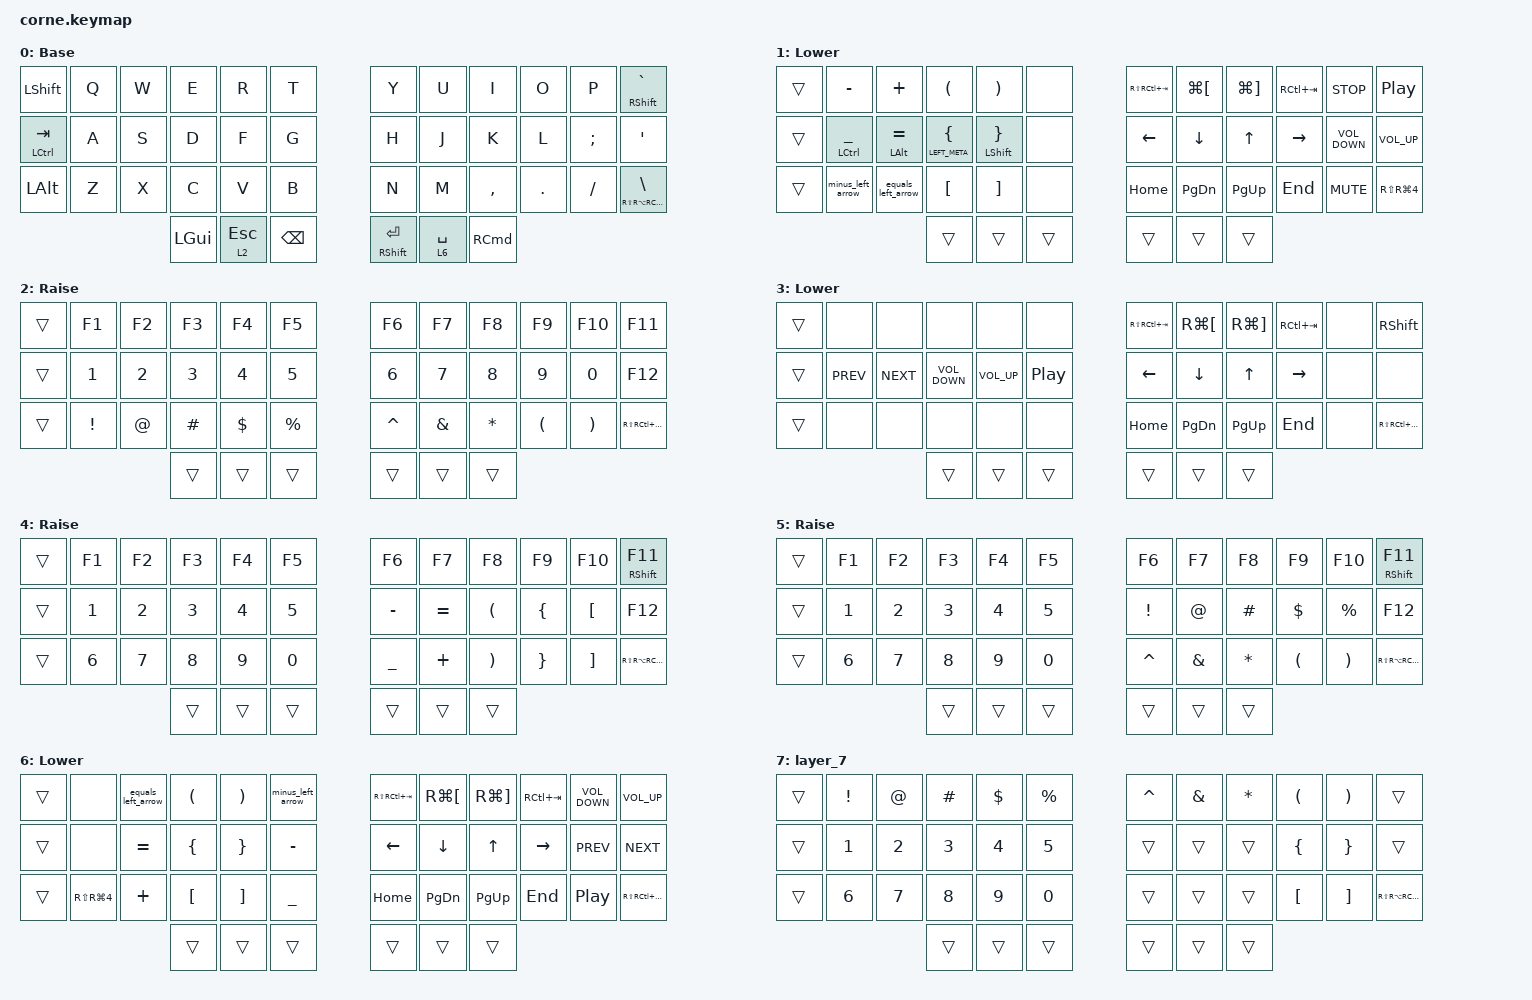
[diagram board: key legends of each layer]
/*
 * Copyright (c) 2020 The ZMK Contributors
 *
 * SPDX-License-Identifier: MIT
 */

#include <behaviors.dtsi>
#include <dt-bindings/zmk/keys.h>

/ {
    macros {
        minus_left_arrow: minus_left_arrow {
            compatible = "zmk,behavior-macro";
            #binding-cells = <0>;
            bindings = <&kp MINUS &kp GT>;
            label = "MINUS_LEFT_ARROW";
        };

        equals_left_arrow: equals_left_arrow {
            compatible = "zmk,behavior-macro";
            #binding-cells = <0>;
            bindings = <&kp EQUAL &kp GT>;
            label = "EQUALS_LEFT_ARROW";
        };
    };

    behaviors {
        HML: HML {
            compatible = "zmk,behavior-hold-tap";
            label = "HML";
            #binding-cells = <2>;
            bindings = <&kp>, <&kp>;

            tapping-term-ms = <280>;
            quick-tap-ms = <175>;
            flavor = "tap-preferred";
            hold-trigger-key-positions = <0 1 2 3 4 5 12 13 14 15 16 17 24 25 26 27 28 29 36 37 38 39 40 41>;
            hold-trigger-on-release;
        };

        HMR: HMR {
            compatible = "zmk,behavior-hold-tap";
            label = "HMR";
            #binding-cells = <2>;
            tapping-term-ms = <280>;
            quick-tap-ms = <175>;
            flavor = "tap-preferred";
            hold-trigger-key-positions = <6 7 9 10 11 18 19 20 21 22 23 30 31 32 33 34 35 39 40 41 8 38 37 36>;
            hold-trigger-on-release;
            bindings = <&kp>, <&kp>;
        };
    };

    keymap {
        compatible = "zmk,keymap";

        default_layer {
            // -----------------------------------------------------------------------------------------
            // |  TAB |  Q  |  W  |  E  |  R  |  T  |   |  Y  |  U   |  I  |  O  |  P  | BKSP |
            // | CTRL |  A  |  S  |  D  |  F  |  G  |   |  H  |  J   |  K  |  L  |  ;  |  '   |
            // | SHFT |  Z  |  X  |  C  |  V  |  B  |   |  N  |  M   |  ,  |  .  |  /  | ESC  |
            //                    | GUI | LWR | SPC |   | ENT | RSE  | ALT |

            display-name = "Base";
            bindings = <
&kp LEFT_SHIFT        &kp Q  &kp W  &kp E     &kp R         &kp T            &kp Y                  &kp U        &kp I              &kp O    &kp P          &mt RIGHT_SHIFT GRAVE
&mt LEFT_CONTROL TAB  &kp A  &kp S  &kp D     &kp F         &kp G            &kp H                  &kp J        &kp K              &kp L    &kp SEMICOLON  &kp SQT
&kp LEFT_ALT          &kp Z  &kp X  &kp C     &kp V         &kp B            &kp N                  &kp M        &kp COMMA          &kp DOT  &kp FSLH       &mt RS(RA(RC(RIGHT_GUI))) BACKSLASH
                                    &kp LGUI  &lt 2 ESCAPE  &kp BACKSPACE    &mt RIGHT_SHIFT ENTER  &lt 6 SPACE  &kp RIGHT_COMMAND
            >;
        };

        lower_layer {
            // -----------------------------------------------------------------------------------------
            // |  TAB |  1  |  2  |  3  |  4  |  5  |   |  6  |  7  |  8  |  9  |  0  | BKSP |
            // | BTCLR| BT1 | BT2 | BT3 | BT4 | BT5 |   | LFT | DWN |  UP | RGT |     |      |
            // | SHFT |     |     |     |     |     |   |     |     |     |     |     |      |
            //                    | GUI |     | SPC |   | ENT |     | ALT |

            display-name = "Lower";
            bindings = <
&trans  &kp MINUS                &kp PLUS             &kp LEFT_PARENTHESIS       &kp RIGHT_PARENTHESIS        &none     &kp RS(RC(TAB))  &kp LG(LEFT_BRACKET)  &kp LG(RIGHT_BRACKET)  &kp RC(TAB)  &kp C_STOP         &kp C_PLAY_PAUSE
&trans  &HML LEFT_CONTROL UNDER  &HML LEFT_ALT EQUAL  &HML LEFT_META LEFT_BRACE  &HML LEFT_SHIFT RIGHT_BRACE  &none     &kp LEFT         &kp DOWN              &kp UP                 &kp RIGHT    &kp C_VOLUME_DOWN  &kp C_VOLUME_UP
&trans  &minus_left_arrow        &equals_left_arrow   &kp LEFT_BRACKET           &kp RIGHT_BRACKET            &none     &kp HOME         &kp PAGE_DOWN         &kp PAGE_UP            &kp END      &kp C_MUTE         &kp RS(RG(NUMBER_4))
                                                      &trans                     &trans                       &trans    &trans           &trans                &trans
            >;
        };

        raise_layer {
            // -----------------------------------------------------------------------------------------
            // |  TAB |  !  |  @  |  #  |  $  |  %  |   |  ^  |  &  |  *  |  (  |  )  | BKSP |
            // | CTRL |     |     |     |     |     |   |  -  |  =  |  [  |  ]  |  \  |  `   |
            // | SHFT |     |     |     |     |     |   |  _  |  +  |  {  |  }  | "|" |  ~   |
            //                    | GUI |     | SPC |   | ENT |     | ALT |

            display-name = "Raise";
            bindings = <
&trans  &kp F1           &kp F2        &kp F3        &kp F4        &kp F5         &kp F6        &kp F7         &kp F8        &kp F9                &kp F10                &kp F11
&trans  &kp NUMBER_1     &kp NUMBER_2  &kp NUMBER_3  &kp NUMBER_4  &kp N5         &kp NUMBER_6  &kp NUMBER_7   &kp NUMBER_8  &kp NUMBER_9          &kp NUMBER_0           &kp F12
&trans  &kp EXCLAMATION  &kp AT_SIGN   &kp HASH      &kp DOLLAR    &kp PERCENT    &kp CARET     &kp AMPERSAND  &kp ASTERISK  &kp LEFT_PARENTHESIS  &kp RIGHT_PARENTHESIS  &kp RS(RC(RA(RGUI)))
                                       &trans        &trans        &trans         &trans        &trans         &trans
            >;
        };

        layer_3 {
            display-name = "Lower";
            bindings = <
&trans  &none       &none       &none              &none         &none       &kp RS(RC(TAB))  &kp RG(LEFT_BRACKET)  &kp RG(RIGHT_BRACKET)  &kp RC(TAB)  &none  &kp RIGHT_SHIFT
&trans  &kp C_PREV  &kp C_NEXT  &kp C_VOLUME_DOWN  &kp C_VOL_UP  &kp C_PP    &kp LEFT         &kp DOWN              &kp UP                 &kp RIGHT    &none  &none
&trans  &none       &none       &none              &none         &none       &kp HOME         &kp PAGE_DOWN         &kp PAGE_UP            &kp END      &none  &kp RS(RC(RA(RIGHT_GUI)))
                                &trans             &trans        &trans      &trans           &trans                &trans
            >;
        };

        layer_4 {
            display-name = "Raise";
            bindings = <
&trans  &kp F1        &kp F2        &kp F3        &kp F4        &kp F5    &kp F6          &kp F7     &kp F8                 &kp F9           &kp F10            &mt RIGHT_SHIFT F11
&trans  &kp NUMBER_1  &kp NUMBER_2  &kp NUMBER_3  &kp NUMBER_4  &kp N5    &kp MINUS       &kp EQUAL  &kp LEFT_PARENTHESIS   &kp LEFT_BRACE   &kp LEFT_BRACKET   &kp F12
&trans  &kp NUMBER_6  &kp N7        &kp N8        &kp N9        &kp N0    &kp UNDERSCORE  &kp PLUS   &kp RIGHT_PARENTHESIS  &kp RIGHT_BRACE  &kp RIGHT_BRACKET  &kp RS(RA(RC(RIGHT_GUI)))
                                    &trans        &trans        &trans    &trans          &trans     &trans
            >;
        };

        layer_5 {
            display-name = "Raise";
            bindings = <
&trans  &kp F1        &kp F2        &kp F3        &kp F4        &kp F5    &kp F6           &kp F7         &kp F8        &kp F9                &kp F10                &mt RIGHT_SHIFT F11
&trans  &kp NUMBER_1  &kp NUMBER_2  &kp NUMBER_3  &kp NUMBER_4  &kp N5    &kp EXCLAMATION  &kp AT_SIGN    &kp HASH      &kp DOLLAR            &kp PERCENT            &kp F12
&trans  &kp NUMBER_6  &kp N7        &kp N8        &kp N9        &kp N0    &kp CARET        &kp AMPERSAND  &kp ASTERISK  &kp LEFT_PARENTHESIS  &kp RIGHT_PARENTHESIS  &kp RS(RA(RC(RIGHT_GUI)))
                                    &trans        &trans        &trans    &trans           &trans         &trans
            >;
        };

        layer_6 {
            display-name = "Lower";
            bindings = <
&trans  &none                 &equals_left_arrow  &kp LEFT_PARENTHESIS  &kp RIGHT_PARENTHESIS  &minus_left_arrow    &kp RS(RC(TAB))  &kp RG(LEFT_BRACKET)  &kp RG(RIGHT_BRACKET)  &kp RC(TAB)  &kp C_VOLUME_DOWN  &kp C_VOLUME_UP
&trans  &none                 &kp EQUAL           &kp LEFT_BRACE        &kp RIGHT_BRACE        &kp MINUS            &kp LEFT         &kp DOWN              &kp UP                 &kp RIGHT    &kp C_PREV         &kp C_NEXT
&trans  &kp RS(RG(NUMBER_4))  &kp PLUS            &kp LEFT_BRACKET      &kp RIGHT_BRACKET      &kp UNDERSCORE       &kp HOME         &kp PAGE_DOWN         &kp PAGE_UP            &kp END      &kp C_PP           &kp RS(RC(RA(RIGHT_GUI)))
                                                  &trans                &trans                 &trans               &trans           &trans                &trans
            >;
        };

        layer_7 {
            bindings = <
&trans  &kp EXCLAMATION  &kp AT_SIGN   &kp HASH      &kp DOLLAR    &kp PERCENT    &kp CARET  &kp AMPERSAND  &kp ASTERISK  &kp LEFT_PARENTHESIS  &kp RIGHT_PARENTHESIS  &trans
&trans  &kp NUMBER_1     &kp NUMBER_2  &kp NUMBER_3  &kp NUMBER_4  &kp N5         &trans     &trans         &trans        &kp LEFT_BRACE        &kp RIGHT_BRACE        &trans
&trans  &kp NUMBER_6     &kp N7        &kp N8        &kp N9        &kp N0         &trans     &trans         &trans        &kp LEFT_BRACKET      &kp RIGHT_BRACKET      &kp RS(RA(RC(RGUI)))
                                       &trans        &trans        &trans         &trans     &trans         &trans
            >;
        };
    };
};
